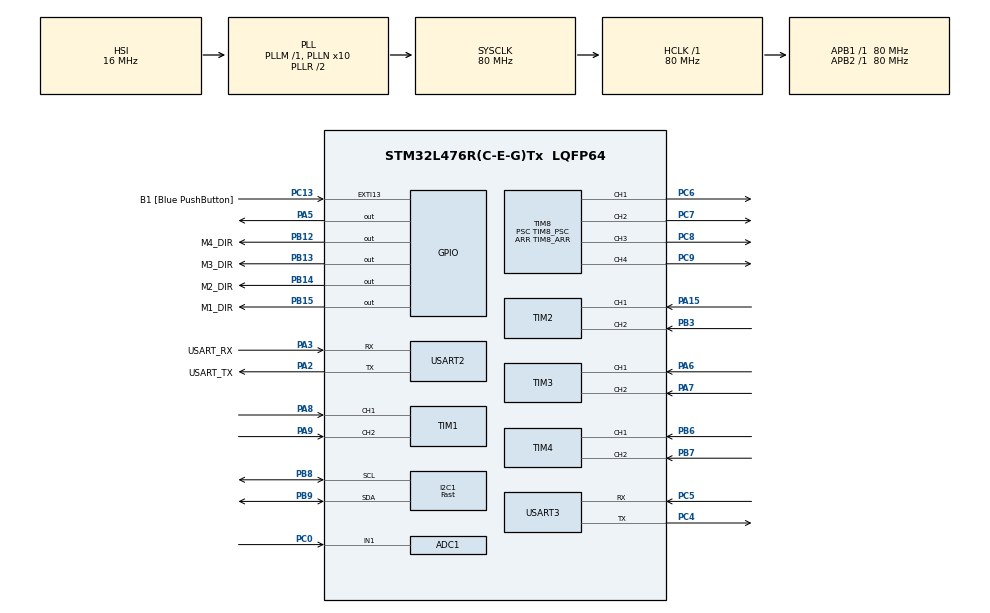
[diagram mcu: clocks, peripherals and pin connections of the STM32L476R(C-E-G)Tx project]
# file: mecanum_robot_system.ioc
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ADC1.Channel-0\#ChannelRegularConversion=ADC_CHANNEL_1
ADC1.ContinuousConvMode=DISABLE
ADC1.ExternalTrigConv=ADC_EXTERNALTRIG_T6_TRGO
ADC1.ExternalTrigConvEdge=ADC_EXTERNALTRIGCONVEDGE_RISING
ADC1.NbrOfConversionFlag=1
ADC1.OffsetNumber-0\#ChannelRegularConversion=ADC_OFFSET_NONE
ADC1.Overrun=ADC_OVR_DATA_OVERWRITTEN
ADC1.OversamplingMode=ENABLE
ADC1.Rank-0\#ChannelRegularConversion=1
ADC1.Ratio=ADC_OVERSAMPLING_RATIO_16
ADC1.RightBitShift=ADC_RIGHTBITSHIFT_4
ADC1.SamplingTime-0\#ChannelRegularConversion=ADC_SAMPLETIME_640CYCLES_5
ADC1.master=1
I2C1.I2C_Speed_Mode=I2C_Fast
I2C1.Timing=0x00F12981
Mcu.Family=STM32L4
Mcu.Name=STM32L476R(C-E-G)Tx
Mcu.Package=LQFP64
Mcu.UserConstants=TIM8_PSC,19;TIM8_ARR,255;TIM5_PSC,79;TIM6_PSC,7999;TIM6_ARR,999
NVIC.ADC1_2_IRQn=true\:0\:0\:false\:false\:true\:true\:true\:true
NVIC.PriorityGroup=NVIC_PRIORITYGROUP_4
NVIC.USART2_IRQn=true\:0\:0\:false\:false\:true\:true\:true\:true
NVIC.USART3_IRQn=true\:0\:0\:false\:false\:true\:true\:true\:true
PA13\ (JTMS-SWDIO).GPIO_Label=TMS
PA13\ (JTMS-SWDIO).Mode=Serial_Wire
PA13\ (JTMS-SWDIO).Signal=SYS_JTMS-SWDIO
PA14\ (JTCK-SWCLK).GPIO_Label=TCK
PA14\ (JTCK-SWCLK).Mode=Serial_Wire
PA14\ (JTCK-SWCLK).Signal=SYS_JTCK-SWCLK
PA15\ (JTDI).Signal=S_TIM2_CH1
PA2.GPIO_Label=USART_TX
PA2.GPIO_Mode=GPIO_MODE_AF_PP
PA2.GPIO_PuPd=GPIO_NOPULL
PA2.GPIO_Speed=GPIO_SPEED_FREQ_VERY_HIGH
PA2.Mode=Asynchronous
PA2.Signal=USART2_TX
PA3.GPIO_Label=USART_RX
PA3.GPIO_Mode=GPIO_MODE_AF_PP
PA3.GPIO_PuPd=GPIO_NOPULL
PA3.GPIO_Speed=GPIO_SPEED_FREQ_VERY_HIGH
PA3.Mode=Asynchronous
PA3.Signal=USART2_RX
PA5.Signal=GPIO_Output
PA6.Signal=S_TIM3_CH1
PA7.Signal=S_TIM3_CH2
PA8.Signal=S_TIM1_CH1
PA9.Signal=S_TIM1_CH2
PB12.GPIO_Label=M4_DIR
PB12.Signal=GPIO_Output
PB13.GPIO_Label=M3_DIR
PB13.Signal=GPIO_Output
PB14.GPIO_Label=M2_DIR
PB14.Signal=GPIO_Output
PB15.GPIO_Label=M1_DIR
PB15.Signal=GPIO_Output
PB3\ (JTDO-TRACESWO).Signal=S_TIM2_CH2
PB6.Signal=S_TIM4_CH1
PB7.Signal=S_TIM4_CH2
PB8.Mode=I2C
PB8.Signal=I2C1_SCL
PB9.Mode=I2C
PB9.Signal=I2C1_SDA
PC0.Signal=ADCx_IN1
PC13.GPIO_Label=B1 [Blue PushButton]
PC13.GPIO_ModeDefaultEXTI=GPIO_MODE_IT_FALLING
PC13.GPIO_PuPd=GPIO_NOPULL
PC13.Signal=GPXTI13
PC14-OSC32_IN\ (PC14).Mode=LSE-External-Oscillator
PC14-OSC32_IN\ (PC14).Signal=RCC_OSC32_IN
PC15-OSC32_OUT\ (PC15).Mode=LSE-External-Oscillator
PC15-OSC32_OUT\ (PC15).Signal=RCC_OSC32_OUT
PC4.Mode=Asynchronous
PC4.Signal=USART3_TX
PC5.Mode=Asynchronous
PC5.Signal=USART3_RX
PC6.Signal=S_TIM8_CH1
PC7.Signal=S_TIM8_CH2
PC8.Signal=S_TIM8_CH3
PC9.Signal=S_TIM8_CH4
PH0-OSC_IN\ (PH0).Signal=RCC_OSC_IN
PH1-OSC_OUT\ (PH1).Signal=RCC_OSC_OUT
ProjectManager.HeapSize=0x200
ProjectManager.StackSize=0x400
ProjectManager.TargetToolchain=CMake
RCC.ADCFreq_Value=64000000
RCC.AHBFreq_Value=80000000
RCC.APB1Freq_Value=80000000
RCC.APB1TimFreq_Value=80000000
RCC.APB2Freq_Value=80000000
RCC.APB2TimFreq_Value=80000000
RCC.CortexFreq_Value=80000000
RCC.HCLKFreq_Value=80000000
RCC.HSE_VALUE=8000000
RCC.HSI_VALUE=16000000
RCC.MSI_VALUE=4000000
RCC.PLLN=10
RCC.PLLSourceVirtual=RCC_PLLSOURCE_HSI
RCC.PREFETCH_ENABLE=1
RCC.SYSCLKFreq_VALUE=80000000
RCC.SYSCLKSource=RCC_SYSCLKSOURCE_PLLCLK
RCC.USBFreq_Value=64000000
RCC.VCOOutputFreq_Value=160000000
SH.ADCx_IN1.0=ADC1_IN1,IN1-Single-Ended
SH.S_TIM1_CH1.0=TIM1_CH1,Encoder_Interface
SH.S_TIM1_CH2.0=TIM1_CH2,Encoder_Interface
SH.S_TIM2_CH1.0=TIM2_CH1,Encoder_Interface
SH.S_TIM2_CH2.0=TIM2_CH2,Encoder_Interface
SH.S_TIM3_CH1.0=TIM3_CH1,Encoder_Interface
SH.S_TIM3_CH2.0=TIM3_CH2,Encoder_Interface
SH.S_TIM4_CH1.0=TIM4_CH1,Encoder_Interface
SH.S_TIM4_CH2.0=TIM4_CH2,Encoder_Interface
SH.S_TIM8_CH1.0=TIM8_CH1,PWM Generation1 CH1
SH.S_TIM8_CH2.0=TIM8_CH2,PWM Generation2 CH2
SH.S_TIM8_CH3.0=TIM8_CH3,PWM Generation3 CH3
SH.S_TIM8_CH4.0=TIM8_CH4,PWM Generation4 CH4
TIM1.IC1Filter=15
TIM1.IC2Filter=15
TIM2.IC1Filter=15
TIM2.IC2Filter=15
TIM3.IC1Filter=15
TIM3.IC2Filter=15
TIM4.IC1Filter=15
TIM4.IC2Filter=15
TIM5.Prescaler=TIM5_PSC
TIM6.Period=TIM6_ARR
TIM6.Prescaler=TIM6_PSC
TIM6.TIM_MasterOutputTrigger=TIM_TRGO_UPDATE
TIM8.Channel-PWM\ Generation1\ CH1=TIM_CHANNEL_1
TIM8.Channel-PWM\ Generation2\ CH2=TIM_CHANNEL_2
TIM8.Channel-PWM\ Generation3\ CH3=TIM_CHANNEL_3
TIM8.Channel-PWM\ Generation4\ CH4=TIM_CHANNEL_4
TIM8.Period=TIM8_ARR
TIM8.Prescaler=TIM8_PSC
USART2.VirtualMode-Asynchronous=VM_ASYNC
USART3.VirtualMode-Asynchronous=VM_ASYNC
VP_TIM5_VS_ClockSourceINT.Mode=Internal
VP_TIM6_VS_ClockSourceINT.Mode=Enable_Timer
board=NUCLEO-L476RG

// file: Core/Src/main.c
/* USER CODE BEGIN Header */
/**
 ******************************************************************************
 * @file           : main.c
 * @brief          : Main program body
 ******************************************************************************
 * @attention
 *
 * Copyright (c) 2026 STMicroelectronics.
 * All rights reserved.
 *
 * This software is licensed under terms that can be found in the LICENSE file
 * in the root directory of this software component.
 * If no LICENSE file comes with this software, it is provided AS-IS.
 *
 ******************************************************************************
 */
/* USER CODE END Header */
#include "main.h"
#include "adc.h"
#include "i2c.h"
#include "tim.h"
#include "usart.h"
#include "gpio.h"

/* USER CODE BEGIN Includes */
#include <stdio.h>
#include "arm_math.h"
#include "micros.h"
#include "uart_comm.h"
#include "controller.h"
/* USER CODE END Includes */

/* USER CODE BEGIN PD */
#define CTRL_PERIOD_US 1000
#define CMD_PERIOD_US 10000
/* USER CODE END PD */

/* USER CODE BEGIN PV */
uint32_t cmd_timer, ctrl_timer;
/* USER CODE END PV */

void SystemClock_Config(void);

/* USER CODE BEGIN 0 */
int _write(int file, char *ptr, int len)
{
  HAL_UART_Transmit(&huart2, (uint8_t *)ptr, len, HAL_MAX_DELAY);
  return len;
}

void HAL_UART_RxCpltCallback(UART_HandleTypeDef *huart)
{
  if (huart == &huart3)
    uart_rx_byte_callback();
}

void HAL_ADC_ConvCpltCallback(ADC_HandleTypeDef *hadc)
{
  controller_adc_callback(hadc);
}

/* USER CODE END 0 */

int main(void)
{

  /* MCU Configuration--------------------------------------------------------*/

  /* Reset of all peripherals, Initializes the Flash interface and the Systick. */
  HAL_Init();

  /* Configure the system clock */
  SystemClock_Config();

  /* Initialize all configured peripherals */
  MX_GPIO_Init();
  MX_USART2_UART_Init();
  MX_TIM2_Init();
  MX_TIM1_Init();
  MX_TIM5_Init();
  MX_TIM3_Init();
  MX_TIM4_Init();
  MX_TIM8_Init();
  MX_USART3_UART_Init();
  MX_ADC1_Init();
  MX_TIM6_Init();
  MX_I2C1_Init();
  /* USER CODE BEGIN 2 */
  micros_tim_init(&htim5);
  uart_init(&huart3);
  controller_init(false);

  /* USER CODE END 2 */

  /* Infinite loop */
  /* USER CODE BEGIN WHILE */
  cmd_timer = micros();
  ctrl_timer = micros();
  while (1)
  {
    if (micros() - cmd_timer > CMD_PERIOD_US)
    {
      controller_poll();
      cmd_timer = micros();
    }

    if (micros() - ctrl_timer > CTRL_PERIOD_US)
    {
      controller_update();
      ctrl_timer = micros();
    }
    /* USER CODE END WHILE */

  }
}

void SystemClock_Config(void)
{
  RCC_OscInitTypeDef RCC_OscInitStruct = {0};
  RCC_ClkInitTypeDef RCC_ClkInitStruct = {0};

  /** Configure the main internal regulator output voltage
  */
  if (HAL_PWREx_ControlVoltageScaling(PWR_REGULATOR_VOLTAGE_SCALE1) != HAL_OK)
  {
    Error_Handler();
  }

  /** Initializes the RCC Oscillators according to the specified parameters
  * in the RCC_OscInitTypeDef structure.
  */
  RCC_OscInitStruct.OscillatorType = RCC_OSCILLATORTYPE_HSI;
  RCC_OscInitStruct.HSIState = RCC_HSI_ON;
  RCC_OscInitStruct.HSICalibrationValue = RCC_HSICALIBRATION_DEFAULT;
  RCC_OscInitStruct.PLL.PLLState = RCC_PLL_ON;
  RCC_OscInitStruct.PLL.PLLSource = RCC_PLLSOURCE_HSI;
  RCC_OscInitStruct.PLL.PLLM = 1;
  RCC_OscInitStruct.PLL.PLLN = 10;
  RCC_OscInitStruct.PLL.PLLP = RCC_PLLP_DIV7;
  RCC_OscInitStruct.PLL.PLLQ = RCC_PLLQ_DIV2;
  RCC_OscInitStruct.PLL.PLLR = RCC_PLLR_DIV2;
  if (HAL_RCC_OscConfig(&RCC_OscInitStruct) != HAL_OK)
  {
    Error_Handler();
  }

  /** Initializes the CPU, AHB and APB buses clocks
  */
  RCC_ClkInitStruct.ClockType = RCC_CLOCKTYPE_HCLK|RCC_CLOCKTYPE_SYSCLK
                              |RCC_CLOCKTYPE_PCLK1|RCC_CLOCKTYPE_PCLK2;
  RCC_ClkInitStruct.SYSCLKSource = RCC_SYSCLKSOURCE_PLLCLK;
  RCC_ClkInitStruct.AHBCLKDivider = RCC_SYSCLK_DIV1;
  RCC_ClkInitStruct.APB1CLKDivider = RCC_HCLK_DIV1;
  RCC_ClkInitStruct.APB2CLKDivider = RCC_HCLK_DIV1;

  if (HAL_RCC_ClockConfig(&RCC_ClkInitStruct, FLASH_LATENCY_4) != HAL_OK)
  {
    Error_Handler();
  }
}

void Error_Handler(void)
{
  __disable_irq();
  while (1)
  {
  }
}
